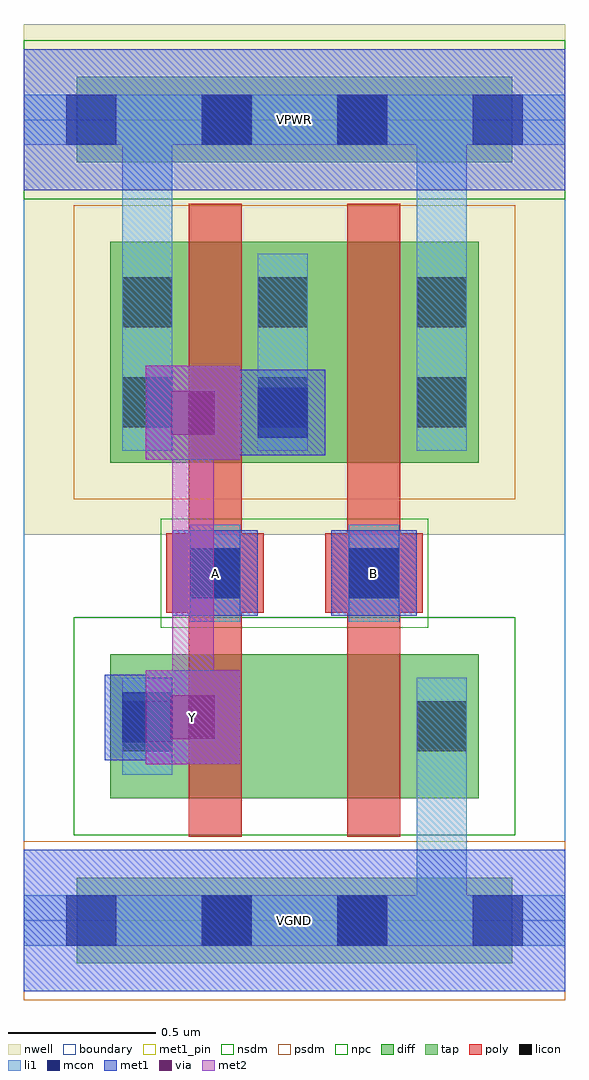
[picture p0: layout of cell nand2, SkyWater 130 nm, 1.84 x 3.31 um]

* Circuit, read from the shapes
.subckt nand2 A B VGND VPWR Y
XM1 n1 A Y VGND sky130_fd_pr__nfet_01v8 w=0.49 l=0.18
XM2 VGND B n1 VGND sky130_fd_pr__nfet_01v8 w=0.49 l=0.18
XM3 Y A VPWR VPWR sky130_fd_pr__pfet_01v8 w=0.75 l=0.18
XM4 VPWR B Y VPWR sky130_fd_pr__pfet_01v8 w=0.75 l=0.18
.ends

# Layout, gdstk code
import gdstk
lib = gdstk.Library(unit=1e-6, precision=1e-09)
def R(c, l, rs):  # rectangles x0, y0, x1, y1
    for r in rs: c.add(gdstk.rectangle(r[:2], r[2:], *l))
def A(c, l, x, y, w, h, nx, ny, dx, dy):  # array of equal rectangles
    R(c, l, [(x+i*dx, y+j*dy, x+i*dx+w, y+j*dy+h) for i in range(nx) for j in range(ny)])
nwell = (64, 20)
diff = (65, 20)
tap = (65, 44)
poly = (66, 20)
licon = (66, 44)
li1 = (67, 20)
mcon = (67, 44)
met1_pin = (68, 16)
met1 = (68, 20)
via = (68, 44)
met2 = (69, 20)
nsdm = (93, 44)
psdm = (94, 20)
npc = (95, 20)
boundary = (235, 4)

nand2 = lib.new_cell('nand2')
R(nand2, nwell, [(0,1.31,1.84,3.045)])
R(nand2, diff, [(0.295,0.415,1.545,0.905), (0.295,1.555,1.545,2.305)])
R(nand2, tap, [(0.18,-0.145,1.66,0.145), (0.18,2.575,1.66,2.865)])
R(nand2, poly, [(0.56,0.285,0.74,2.435), (1.1,0.285,1.28,2.435), (0.485,1.045,0.815,1.315), (1.025,1.045,1.355,1.315)])
R(nand2, licon, [(0.605,-0.085,0.775,0.085), (1.065,-0.085,1.235,0.085), (0.335,0.575,0.505,0.745), (1.335,0.575,1.505,0.745), (0.565,1.095,0.735,1.265), (1.105,1.095,1.275,1.265), (0.335,1.675,0.505,1.845), (0.795,1.675,0.965,1.845), (1.335,1.675,1.505,1.845), (0.335,2.015,0.505,2.185), (0.795,2.015,0.965,2.185), (1.335,2.015,1.505,2.185), (0.605,2.635,0.775,2.805), (1.065,2.635,1.235,2.805)])
R(nand2, li1, [(0,-0.085,1.84,0.085), (1.335,-0.085,1.505,0.825), (0.335,0.495,0.505,0.825), (1.335,0.495,1.505,0.825), (0.565,1.015,0.735,1.345), (1.105,1.015,1.275,1.345), (0.335,1.595,0.505,2.265), (0.335,1.595,0.505,2.805), (0.795,1.595,0.965,2.265), (1.335,1.595,1.505,2.265), (1.335,1.595,1.505,2.805), (0,2.635,1.84,2.805)])
A(nand2, mcon, 0.145, -0.085, 0.17, 0.17, 4, 2, 0.46, 2.72)
R(nand2, mcon, [(0.335,0.605,0.505,0.775), (0.565,1.095,0.735,1.265), (1.105,1.095,1.275,1.265), (0.795,1.64,0.965,1.81)])
R(nand2, met1_pin, [(0,-0.24,1.84,0.24), (0.415,0.53,0.735,0.85), (0.505,1.035,0.795,1.325), (1.045,1.035,1.335,1.325), (0,2.48,1.84,2.96)])
R(nand2, met1, [(0,-0.24,1.84,0.24), (0.415,0.53,0.735,0.85), (0.275,0.545,0.565,0.835), (0.35,0.62,0.645,0.76), (0.505,1.035,0.795,1.325), (1.045,1.035,1.335,1.325), (0.415,1.565,0.735,1.885), (0.735,1.58,1.025,1.87), (0.505,1.655,0.76,1.795), (0.62,1.655,0.95,1.795), (0,2.48,1.84,2.96)])
R(nand2, via, [(0.5,0.615,0.65,0.765), (0.5,1.65,0.65,1.8)])
R(nand2, met2, [(0.415,0.53,0.735,0.85), (0.505,0.62,0.645,1.795), (0.415,1.565,0.735,1.885)])
R(nand2, nsdm, [(0.17,0.29,1.67,1.03), (0,2.45,1.84,2.99)])
R(nand2, psdm, [(0,-0.27,1.84,0.27), (0.17,1.43,1.67,2.43)])
R(nand2, npc, [(0.465,0.995,1.375,1.365)])
R(nand2, boundary, [(0,0,1.84,2.72)])
nand2.add(gdstk.Label('A', (0.65,1.18), layer=68, texttype=5))
nand2.add(gdstk.Label('B', (1.19,1.18), layer=68, texttype=5))
nand2.add(gdstk.Label('Y', (0.575,0.69), layer=68, texttype=5))
nand2.add(gdstk.Label('VPWR', (0.92,2.72), layer=68, texttype=5))
nand2.add(gdstk.Label('VGND', (0.92,0), layer=68, texttype=5))
nand2.add(gdstk.Label('A', (0.65,1.18), layer=68, texttype=16))
nand2.add(gdstk.Label('B', (1.19,1.18), layer=68, texttype=16))
nand2.add(gdstk.Label('Y', (0.575,0.69), layer=68, texttype=16))
nand2.add(gdstk.Label('VPWR', (0.92,2.72), layer=68, texttype=16))
nand2.add(gdstk.Label('VGND', (0.92,0), layer=68, texttype=16))

lib.write_gds('nand2.gds')
